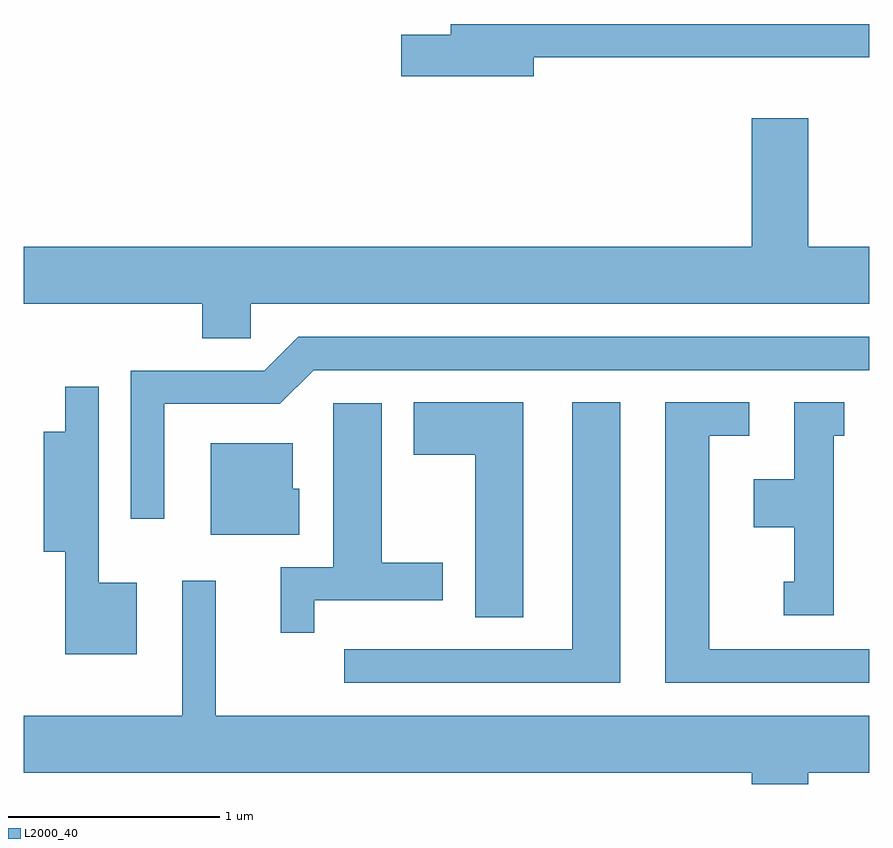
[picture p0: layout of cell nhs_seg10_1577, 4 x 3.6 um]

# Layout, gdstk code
import gdstk
lib = gdstk.Library(unit=1e-6, precision=1e-09)
def P(c, l, *ps):  # polygons
    for p in ps: c.add(gdstk.Polygon(p, *l))
L2000_40 = (2000, 40)

nhs_seg10_1577 = lib.new_cell('nhs_seg10_1577')
P(nhs_seg10_1577, L2000_40, [(234.024,2123.961),(235.611,2123.961),(235.611,2124.119),(233.631,2124.119),(233.631,2124.069),(233.396,2124.069),(233.396,2123.871),(234.024,2123.871)],
  [(232.684,2122.796),(235.611,2122.796),(235.611,2123.064),(235.324,2123.064),(235.324,2123.674),(235.056,2123.674),(235.056,2123.064),(231.611,2123.064),(231.611,2122.796),(232.456,2122.796),(232.456,2122.631),(232.684,2122.631)],
  [(232.274,2122.321),(232.822,2122.321),(232.982,2122.481),(235.611,2122.481),(235.611,2122.639),(232.909,2122.639),(232.749,2122.479),(232.116,2122.479),(232.116,2121.778),(232.274,2121.778)],
  [(232.144,2121.474),(231.964,2121.474),(231.964,2122.403),(231.806,2122.403),(231.806,2122.189),(231.706,2122.189),(231.706,2121.621),(231.806,2121.621),(231.806,2121.136),(232.144,2121.136)],
  [(234.434,2122.329),(234.206,2122.329),(234.206,2121.159),(233.128,2121.159),(233.128,2121.001),(234.434,2121.001)],
  [(235.444,2122.171),(235.493,2122.171),(235.493,2122.329),(235.256,2122.329),(235.256,2121.964),(235.066,2121.964),(235.066,2121.736),(235.256,2121.736),(235.256,2121.479),(235.208,2121.479),(235.208,2121.321),(235.444,2121.321)],
  [(233.974,2122.329),(233.456,2122.329),(233.456,2122.081),(233.746,2122.081),(233.746,2121.311),(233.974,2121.311)],
  [(235.611,2121.159),(234.854,2121.159),(234.854,2122.171),(235.043,2122.171),(235.043,2122.329),(234.646,2122.329),(234.646,2121.001),(235.611,2121.001)],
  [(232.984,2121.391),(233.594,2121.391),(233.594,2121.569),(233.304,2121.569),(233.304,2122.324),(233.076,2122.324),(233.076,2121.549),(232.826,2121.549),(232.826,2121.238),(232.984,2121.238)],
  [(232.914,2121.919),(232.884,2121.919),(232.884,2122.134),(232.496,2122.134),(232.496,2121.701),(232.914,2121.701)],
  [(235.324,2120.576),(235.611,2120.576),(235.611,2120.844),(232.519,2120.844),(232.519,2121.483),(232.361,2121.483),(232.361,2120.844),(231.611,2120.844),(231.611,2120.576),(235.056,2120.576),(235.056,2120.522),(235.324,2120.522)])

lib.write_gds('nhs_seg10_1577.gds')
